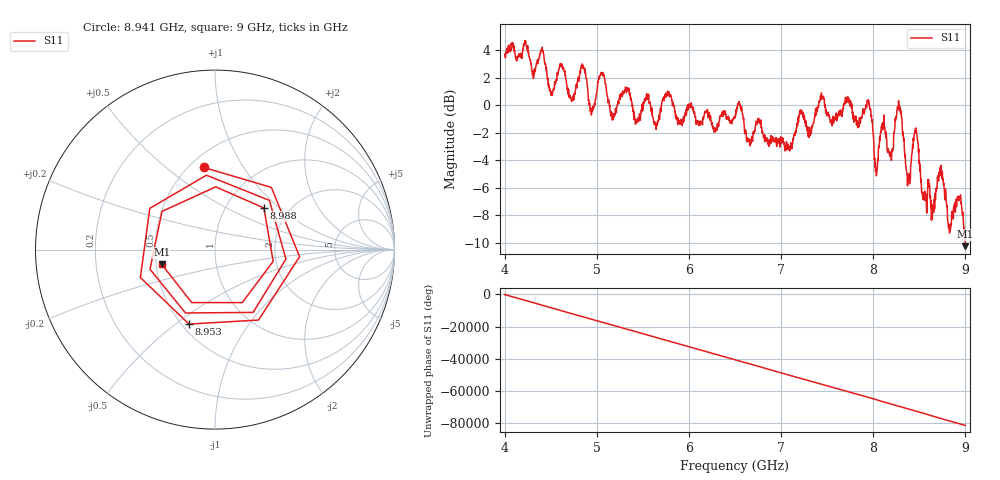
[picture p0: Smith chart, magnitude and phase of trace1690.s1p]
! Created with skrf 1.8.0 (http://scikit-rf.org).
# Hz S RI R 50.0
!freq ReS11 ImS11
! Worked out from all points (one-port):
!   1601 points, 4 GHz to 9 GHz, reference 50 ohm
!   lowest |S11| = -10.2 dB at 9 GHz (marker M1), VSWR 1.89, Z = 26.8 - j4.88 ohm
!   |S11| at or under -10 dB: 8.998262 GHz to end of sweep
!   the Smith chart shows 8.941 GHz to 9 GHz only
!   S11 on the Smith chart (normalised r, x): 8.941 GHz: 0.59, +0.68; 8.953 GHz: 0.54, -0.56; 8.988 GHz: 1.50, +0.80; 9 GHz: 0.54, -0.10
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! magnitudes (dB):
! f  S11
! 4 GHz  3.7
! 4.403 GHz  4.1
! 4.512 GHz  1.0
! 4.625 GHz  2.7
! 4.728 GHz  0.3
! 4.853 GHz  2.7
! 4.944 GHz  -0.6
! 5.056 GHz  2.3
! 5.169 GHz  -1.1
! 5.25 GHz  0.8
! 5.875 GHz  -0.9
! 6.5 GHz  -0.8
! 7.125 GHz  -2.8
! 7.75 GHz  -0.1
! 7.956 GHz  0.2
! 8.034 GHz  -5.1
! 8.103 GHz  -1.8
! 8.194 GHz  -3.4
! 8.281 GHz  0.0
! 8.375 GHz  -5.0
! 8.459 GHz  -1.7
! 8.559 GHz  -6.2
! 8.728 GHz  -4.7
! 8.828 GHz  -9.3
! 8.941 GHz  -6.7
! 8.953 GHz  -7.1
! 8.988 GHz  -8.9
! 9 GHz  -10.2
